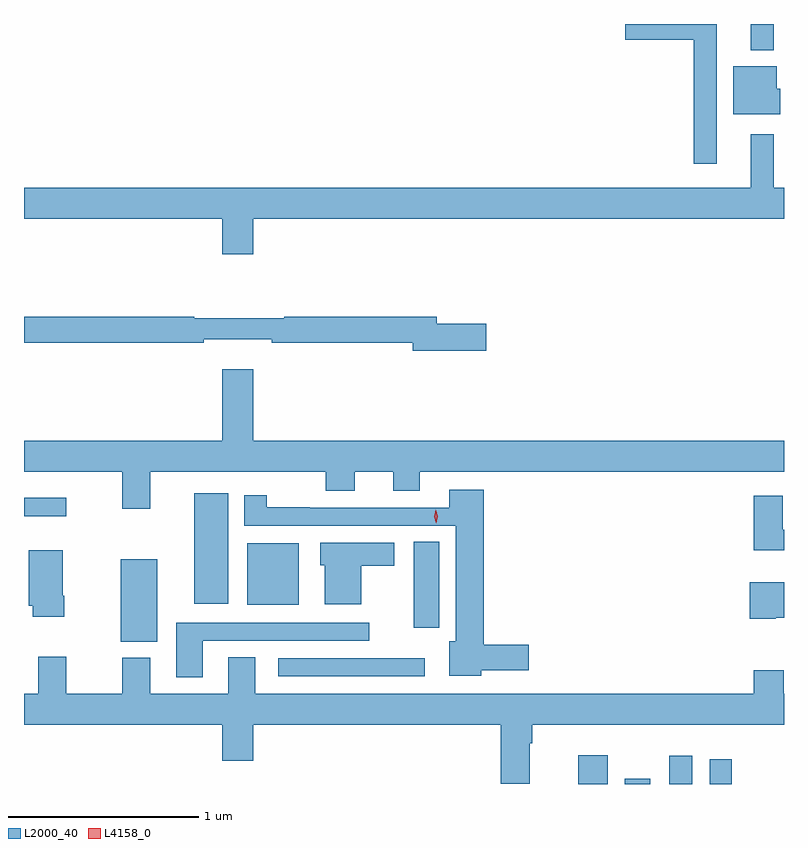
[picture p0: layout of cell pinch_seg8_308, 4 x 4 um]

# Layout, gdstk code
import gdstk
lib = gdstk.Library(unit=1e-6, precision=1e-09)
def R(c, l, rs):  # rectangles x0, y0, x1, y1
    for r in rs: c.add(gdstk.rectangle(r[:2], r[2:], *l))
def P(c, l, *ps):  # polygons
    for p in ps: c.add(gdstk.Polygon(p, *l))
L2000_40 = (2000, 40)
L4158_0 = (4158, 0)

pinch_seg8_308 = lib.new_cell('pinch_seg8_308')
R(pinch_seg8_308, L2000_40, [(598.451,1128.177,598.606,1128.328), (598.694,1128.177,598.828,1128.205), (598.928,1128.177,599.05,1128.325), (599.142,1128.177,599.258,1128.307), (596.871,1128.744,597.643,1128.84), (596.042,1128.926,596.233,1129.36), (597.584,1128.999,597.718,1129.451), (596.708,1129.121,596.98,1129.444), (596.429,1129.127,596.608,1129.708), (595.533,1129.587,595.756,1129.684), (599.357,1132.04,599.479,1132.177)])
P(pinch_seg8_308, L2000_40, [(599.179,1132.177),(598.698,1132.177),(598.698,1132.094),(599.058,1132.094),(599.058,1131.441),(599.179,1131.441)],
  [(599.512,1131.837),(599.494,1131.837),(599.494,1131.955),(599.267,1131.955),(599.267,1131.701),(599.512,1131.701)],
  [(596.74,1131.152),(599.533,1131.152),(599.533,1131.316),(599.479,1131.316),(599.479,1131.598),(599.357,1131.598),(599.357,1131.316),(595.533,1131.316),(595.533,1131.152),(596.576,1131.152),(596.576,1130.964),(596.74,1130.964)],
  [(597.967,1130.6),(597.706,1130.6),(597.706,1130.636),(596.902,1130.636),(596.902,1130.629),(596.429,1130.629),(596.429,1130.636),(595.533,1130.636),(595.533,1130.5),(596.48,1130.5),(596.48,1130.519),(596.836,1130.519),(596.836,1130.5),(597.578,1130.5),(597.578,1130.458),(597.967,1130.458)],
  [(596.197,1129.82),(597.122,1129.82),(597.122,1129.721),(597.274,1129.721),(597.274,1129.82),(597.476,1129.82),(597.476,1129.721),(597.616,1129.721),(597.616,1129.82),(599.533,1129.82),(599.533,1129.984),(596.74,1129.984),(596.74,1130.359),(596.576,1130.359),(596.576,1129.984),(595.533,1129.984),(595.533,1129.82),(596.05,1129.82),(596.05,1129.626),(596.197,1129.626)],
  [(597.94,1128.776),(598.189,1128.776),(598.189,1128.911),(597.953,1128.911),(597.953,1129.726),(597.77,1129.726),(597.77,1129.632),(597.038,1129.632),(597.038,1129.634),(596.811,1129.634),(596.811,1129.696),(596.693,1129.696),(596.693,1129.536),(597.806,1129.536),(597.806,1128.928),(597.77,1128.928),(597.77,1128.746),(597.94,1128.746)],
  [(599.533,1129.516),(599.527,1129.516),(599.527,1129.693),(599.375,1129.693),(599.375,1129.406),(599.533,1129.406)],
  [(597.307,1129.325),(597.481,1129.325),(597.481,1129.447),(597.092,1129.447),(597.092,1129.329),(597.116,1129.329),(597.116,1129.124),(597.307,1129.124)],
  [(595.746,1129.168),(595.738,1129.168),(595.738,1129.408),(595.559,1129.408),(595.559,1129.116),(595.58,1129.116),(595.58,1129.056),(595.746,1129.056)],
  [(599.49,1129.052),(599.533,1129.052),(599.533,1129.24),(599.354,1129.24),(599.354,1129.046),(599.49,1129.046)],
  [(596.473,1128.93),(597.349,1128.93),(597.349,1129.026),(596.333,1129.026),(596.333,1128.738),(596.473,1128.738)],
  [(598.195,1128.392),(598.208,1128.392),(598.208,1128.488),(599.533,1128.488),(599.533,1128.652),(599.531,1128.652),(599.531,1128.776),(599.375,1128.776),(599.375,1128.652),(596.749,1128.652),(596.749,1128.845),(596.609,1128.845),(596.609,1128.652),(596.197,1128.652),(596.197,1128.841),(596.05,1128.841),(596.05,1128.652),(595.755,1128.652),(595.755,1128.847),(595.607,1128.847),(595.607,1128.652),(595.533,1128.652),(595.533,1128.488),(596.576,1128.488),(596.576,1128.3),(596.74,1128.3),(596.74,1128.488),(598.043,1128.488),(598.043,1128.179),(598.195,1128.179)])
P(pinch_seg8_308, L4158_0, [(597.702,1129.549),(597.702,1129.549),(597.691,1129.584),(597.699,1129.621),(597.699,1129.621),(597.7,1129.621),(597.711,1129.585),(597.702,1129.549)])

lib.write_gds('pinch_seg8_308.gds')
